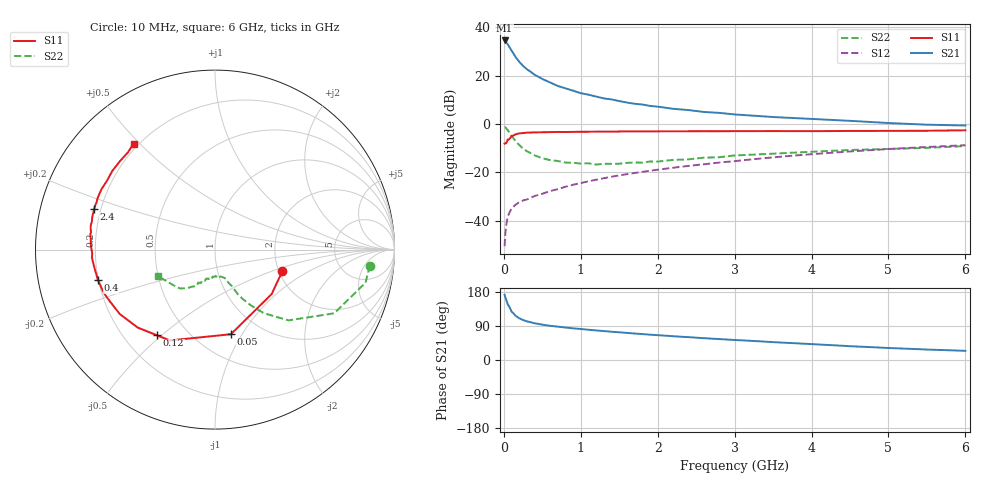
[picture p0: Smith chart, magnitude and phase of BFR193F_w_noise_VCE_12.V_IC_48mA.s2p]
! Infineon Technologies  Discrete & RF Semiconductors
! BFR193F
! VCE =  12. V,  IC =  48 mA
! Common Emitter S-Parameters:  Jan 2017
# GHz  S  MA  R  50
!  f  S11  S21  S12  S22
! GHz  MAG  ANG  MAG  ANG  MAG  ANG  MAG  ANG
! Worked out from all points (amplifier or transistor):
!   77 points, 10 MHz to 6 GHz, reference 50 ohm
!   highest |S21| = 34.5 dB at 10 MHz (marker M1)
!   |S21| within 3 dB of that: start of sweep to 77.31 MHz
!   unconditionally stable (mu >= 1): 910.1 MHz to 2.791 GHz
!   at 130 MHz: K = 0.44, MSG = 31.4 dB, |S12| = -34.0 dB
!   at 2.2 GHz: K = 1.04, MAG = 10.9 dB, |S12| = -18.1 dB
!   at 6 GHz: K = 0.84, MSG = 4.1 dB, |S12| = -8.7 dB
!   lowest NFmin = 1.45 dB at 450 MHz
!   S11 on the Smith chart (normalised r, x): 10 MHz: 2.08, -0.60; 50 MHz: 0.73, -0.90; 120 MHz: 0.34, -0.48; 400 MHz: 0.20, -0.12; 2.4 GHz: 0.17, +0.16; 6 GHz: 0.18, +0.48
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0.01  0.3938 -18.0  53.37 172.3  0.003 54.8  0.8672 -5.9
0.02  0.4014 -38.1  51.33 164.9  0.0056 63.1  0.8586 -12.4
0.05  0.4797 -79.4  44.7 147.1  0.0122 61.4  0.7532 -28.1
0.1  0.5652 -116.4  33.03 127.7  0.0179 50.2  0.5686 -43.9
0.12  0.5766 -124.1  29.55 124.2  0.0193 49.2  0.5184 -46.9
0.15  0.6119 -134.8  24.62 117.0  0.0214 48.0  0.4464 -52.5
0.2  0.6407 -146.0  19.36 110.2  0.0243 47.4  0.3687 -57.3
0.25  0.6524 -153.6  15.88 105.4  0.0264 48.7  0.3121 -60.9
0.3  0.6646 -158.5  13.59 102.0  0.0277 50.2  0.2746 -63.1
0.4  0.674 -165.5  10.4 96.8  0.0325 53.3  0.2258 -65.0
0.5  0.6775 -170.0  8.552 93.3  0.0363 57.1  0.1963 -68.2
0.7  0.6873 -176.4  6.133 88.0  0.0452 62.6  0.1725 -69.8
1  0.6926 177.5  4.342 81.8  0.0604 67.5  0.1527 -79.1
1.1  0.6935 176.1  4.044 79.8  0.0657 68.8  0.1546 -81.9
1.3  0.7003 173.0  3.385 76.3  0.076 70.5  0.1514 -86.9
1.6  0.7047 169.3  2.784 71.5  0.0921 72.0  0.1577 -95.4
2.1  0.7081 164.1  2.177 64.2  0.1195 73.4  0.1748 -107.2
2.4  0.7101 161.5  1.947 60.3  0.1366 73.4  0.1867 -112.7
3.1  0.7144 155.3  1.543 51.8  0.1782 73.3  0.2282 -117.6
4.1  0.7147 146.4  1.254 40.9  0.2449 70.1  0.2722 -127.5
5.1  0.7236 136.2  1.034 30.9  0.3107 64.9  0.3092 -141.5
6  0.7447 127.5  0.934 24.2  0.3654 59.4  0.3508 -154.9
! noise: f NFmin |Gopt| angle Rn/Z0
0.45  1.45  0.46  -180  0.07
0.9  1.54  0.47  -179  0.07
1.9  2.11  0.6  -164  0.09
2.4  2.42  0.62  -156  0.14
